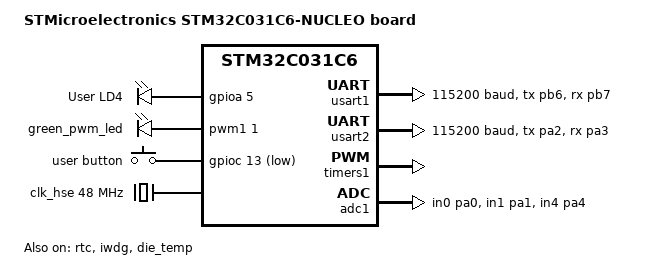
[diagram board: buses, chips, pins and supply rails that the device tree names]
/*
 * Copyright (c) 2023 Benjamin Björnsson <benjamin.bjornsson@gmail.com>
 *
 * SPDX-License-Identifier: Apache-2.0
 */

/dts-v1/;
#include <st/c0/stm32c031X6.dtsi>
#include <st/c0/stm32c031c(4-6)tx-pinctrl.dtsi>
#include "arduino_r3_connector.dtsi"

/ {
	model = "STMicroelectronics STM32C031C6-NUCLEO board";
	compatible = "st,stm32c031c6-nucleo";

	chosen {
		zephyr,console = &usart2;
		zephyr,shell-uart = &usart2;
		zephyr,sram = &sram0;
		zephyr,flash = &flash0;
	};

	leds {
		compatible = "gpio-leds";
		green_led_4: led_4 {
			gpios = <&gpioa 5 GPIO_ACTIVE_HIGH>;
			label = "User LD4";
		};
	};

	pwmleds {
		compatible = "pwm-leds";

		green_pwm_led: green_pwm_led {
			pwms = <&pwm1 1 PWM_MSEC(20) PWM_POLARITY_NORMAL>;
		};
	};

	gpio_keys {
		compatible = "gpio-keys";
		user_button: button {
			label = "user button";
			gpios = <&gpioc 13 GPIO_ACTIVE_LOW>;
			status = "okay";
		};
	};

	aliases {
		led0 = &green_led_4;
		pwm-led0 = &green_pwm_led;
		sw0 = &user_button;
		watchdog0 = &iwdg;
		die-temp0 = &die_temp;
	};
};

&clk_lse {
	status = "okay";
};

&clk_hse {
	clock-frequency = <DT_FREQ_M(48)>;
	status = "okay";
};

&rcc {
	clocks = <&clk_hse>;
	clock-frequency = <DT_FREQ_M(48)>;
	ahb-prescaler = <1>;
	apb1-prescaler = <1>;
};

&usart1 {
	pinctrl-0 = <&usart1_tx_pb6 &usart1_rx_pb7>;
	pinctrl-names = "default";
	current-speed = <115200>;
};

&usart2 {
	pinctrl-0 = <&usart2_tx_pa2 &usart2_rx_pa3>;
	pinctrl-names = "default";
	current-speed = <115200>;
	status = "okay";
};

&rtc {
	clocks = <&rcc STM32_CLOCK_BUS_APB1 0x00000400>,
		 <&rcc STM32_SRC_LSE RTC_SEL(1)>;
	status = "okay";
};

&iwdg {
	status = "okay";
};

&timers1 {
	st,prescaler = <10000>;
	status = "okay";

	pwm1: pwm {
		pinctrl-0 = <&tim1_ch1_pa5>;
		pinctrl-names = "default";
		status = "okay";
	};
};

&adc1 {
	pinctrl-0 = <&adc1_in0_pa0 &adc1_in1_pa1 &adc1_in4_pa4>;
	pinctrl-names = "default";
	status = "okay";
};

&die_temp {
	status = "okay";
};
